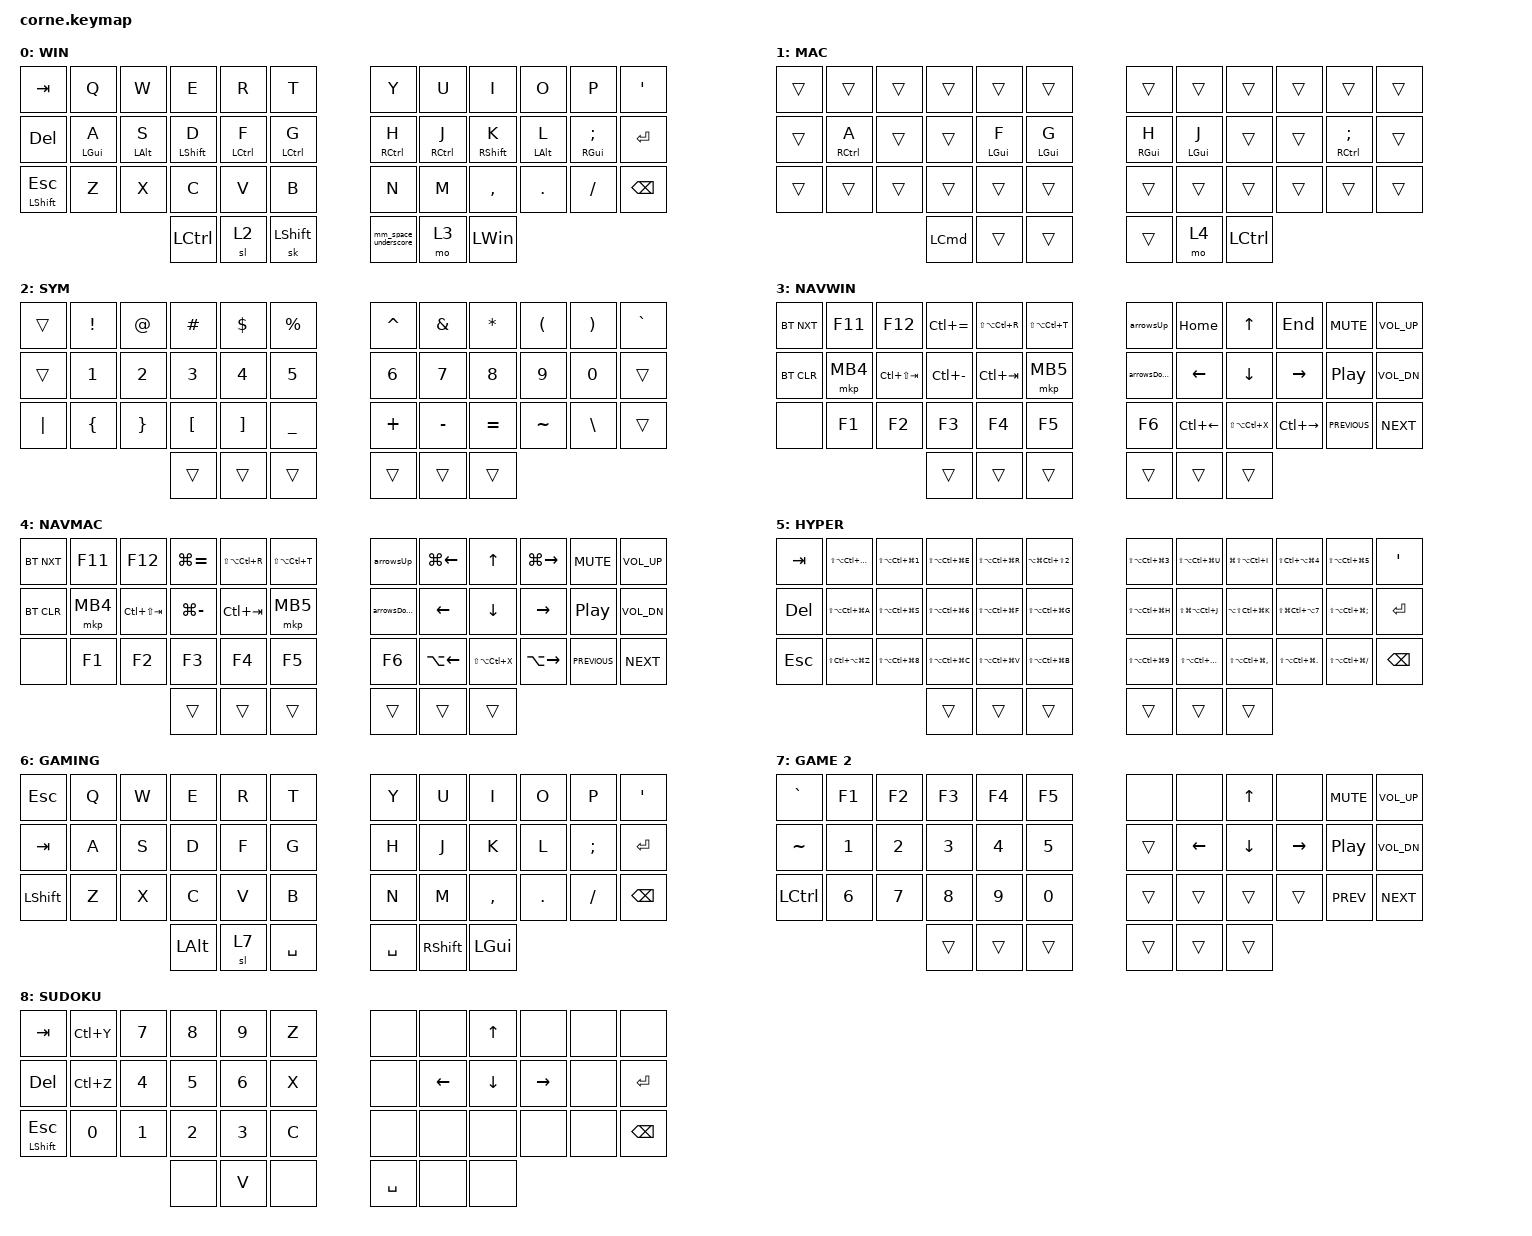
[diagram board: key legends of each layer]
/*
 * Copyright (c) 2020 The ZMK Contributors
 *
 * SPDX-License-Identifier: MIT
 */

#include <dt-bindings/zmk/mouse.h>
#include <behaviors.dtsi>
#include <dt-bindings/zmk/bt.h>
#include <dt-bindings/zmk/keys.h>
#include <dt-bindings/zmk/pointing.h>

&mt {
    flavor = "balanced";
    require-prior-idle-ms = <125>;
};

&sk {
    quick-release;
    release-after-ms = <500>;
};

&sl {
    release-after-ms = <500>;
    ignore-modifiers;
};

/ {
    combos {
        compatible = "zmk,combos";

        ctrlz {
            bindings = <&kp LC(Z)>;
            key-positions = <25 26>;
            layers = <0 6>;
            require-prior-idle-ms = <125>;
        };

        ctrlx {
            bindings = <&kp LC(X)>;
            key-positions = <26 27>;
            layers = <0 6>;
            require-prior-idle-ms = <125>;
        };

        ctrlc {
            bindings = <&kp LC(C)>;
            key-positions = <27 28>;
            layers = <0 6>;
            require-prior-idle-ms = <125>;
        };

        ctrlv {
            bindings = <&kp LC(V)>;
            key-positions = <28 29>;
            layers = <0 6>;
            require-prior-idle-ms = <125>;
        };

        cmdz {
            bindings = <&kp LG(Z)>;
            key-positions = <25 26>;
            layers = <1>;
        };

        cmdx {
            bindings = <&kp LG(X)>;
            key-positions = <26 27>;
            layers = <1>;
        };

        cmdc {
            bindings = <&kp LG(C)>;
            key-positions = <27 28>;
            layers = <1>;
            require-prior-idle-ms = <125>;
        };

        cmdv {
            bindings = <&kp LG(V)>;
            key-positions = <28 29>;
            layers = <1>;
            require-prior-idle-ms = <125>;
        };

        toMAC {
            bindings = <&to 1>;
            key-positions = <39 41 30>;
            layers = <0>;
        };

        toGAME {
            bindings = <&to 6>;
            key-positions = <39 41 30>;
            layers = <1>;
        };

        toSUDOKU {
            bindings = <&to 8>;
            key-positions = <39 41 30>;
            layers = <6>;
        };

        toWIN {
            bindings = <&to 0>;
            key-positions = <39 41 30>;
            layers = <8>;
        };

        bt_next {
            bindings = <&bt BT_NXT>;
            key-positions = <38 36 29>;
        };

        mac_app_allwindows {
            bindings = <&kp LC(DOWN)>;
            key-positions = <31 32 33>;
            layers = <1>;
            require-prior-idle-ms = <125>;
        };

        combo_LT {
            bindings = <&kp LT>;
            key-positions = <31 32>;
            require-prior-idle-ms = <100>;
        };

        combo_GT {
            bindings = <&kp GT>;
            key-positions = <32 33>;
            require-prior-idle-ms = <100>;
        };

        combo_QMark {
            bindings = <&kp QMARK>;
            key-positions = <33 34>;
            require-prior-idle-ms = <100>;
        };

        combo_COLON {
            bindings = <&kp COLON>;
            key-positions = <22 21>;
            require-prior-idle-ms = <100>;
        };

        combo_DQT {
            bindings = <&kp DQT>;
            key-positions = <10 9>;
            require-prior-idle-ms = <100>;
        };

        combo_nextWindowMac {
            bindings = <&kp LG(GRAVE)>;
            key-positions = <7 8>;
            layers = <1 4>;
            require-prior-idle-ms = <125>;
        };

        hyper-right {
            bindings = <&kp LS(LA(LC(LEFT_GUI)))>;
            key-positions = <19 20 21 22>;
        };

        ctrlvAlternate {
            bindings = <&kp LC(V)>;
            key-positions = <28 15>;
            require-prior-idle-ms = <125>;
            layers = <0>;
        };

        cmdvAlternate {
            bindings = <&kp LG(V)>;
            key-positions = <28 15>;
            require-prior-idle-ms = <125>;
            layers = <1>;
        };

        toWin_everywhere {
            bindings = <&to 0>;
            key-positions = <16 3 14>;
            require-prior-idle-ms = <125>;
        };

        toMac_everywhere {
            bindings = <&to 1>;
            key-positions = <8 19 21>;
            require-prior-idle-ms = <125>;
        };

        toGAME_everywhere {
            bindings = <&to 6>;
            key-positions = <2 15 13>;
            require-prior-idle-ms = <125>;
        };

        toSUDOKU_everywhere {
            bindings = <&to 8>;
            key-positions = <9 20 22>;
            require-prior-idle-ms = <125>;
        };

        bt_clear {
            bindings = <&bt BT_CLR>;
            key-positions = <29 27 36>;
        };

        ctrls {
            bindings = <&kp LC(S)>;
            key-positions = <14 15>;
            layers = <6>;
        };

        ctrla {
            bindings = <&kp LC(A)>;
            key-positions = <13 14>;
            layers = <6>;
        };
    };

    macros {
        arrowsUp: arrowsUp {
            compatible = "zmk,behavior-macro";
            #binding-cells = <0>;
            bindings = <&kp UP_ARROW &kp UP_ARROW &kp UP_ARROW &kp UP_ARROW &kp UP_ARROW &kp UP_ARROW &kp UP>;
            label = "ARROWSUP";
            wait-ms = <1>;
            tap-ms = <10>;
        };

        arrowsDown: arrowsDown {
            compatible = "zmk,behavior-macro";
            #binding-cells = <0>;
            bindings = <&kp DOWN &kp DOWN &kp DOWN &kp DOWN &kp DOWN &kp DOWN &kp DOWN>;
            label = "ARROWSDOWN";
            wait-ms = <1>;
            tap-ms = <10>;
        };
    };

    behaviors {
        td_alt_game2: td_alt_game2 {
            compatible = "zmk,behavior-tap-dance";
            label = "TD_ALT_GAME2";
            #binding-cells = <0>;
            bindings = <&kp LEFT_ALT>, <&mo 7>;
        };

        mm_space_underscore: mm_space_underscore {
            compatible = "zmk,behavior-mod-morph";
            label = "MM_SPACE_UNDERSCORE";
            bindings = <&kp SPACE>, <&kp UNDER>;

            #binding-cells = <0>;
            mods = <(MOD_LSFT|MOD_RSFT)>;
        };
    };

    keymap {
        compatible = "zmk,keymap";

        Win {
            // -----------------------------------------------------------------------------------------
            // |  TAB |  Q  |  W  |  E  |  R  |  T  |   |  Y  |  U   |  I  |  O  |  P  | BKSP |
            // | CTRL |  A  |  S  |  D  |  F  |  G  |   |  H  |  J   |  K  |  L  |  ;  |  '   |
            // | SHFT |  Z  |  X  |  C  |  V  |  B  |   |  N  |  M   |  ,  |  .  |  /  | ESC  |
            //                    | GUI | LWR | SPC |   | ENT | RSE  | ALT |

            bindings = <
&kp TAB                &kp Q           &kp W           &kp E             &kp R        &kp T          &kp Y                 &kp U        &kp I              &kp O           &kp P                    &kp APOS
&kp DELETE             &mt LEFT_GUI A  &mt LEFT_ALT S  &mt LEFT_SHIFT D  &mt LCTRL F  &mt LCTRL G    &mt RCTRL H           &mt RCTRL J  &mt RIGHT_SHIFT K  &mt LEFT_ALT L  &mt RIGHT_GUI SEMICOLON  &kp ENTER
&mt LEFT_SHIFT ESCAPE  &kp Z           &kp X           &kp C             &kp V        &kp B          &kp N                 &kp M        &kp COMMA          &kp DOT         &kp FSLH                 &kp BACKSPACE
                                                       &kp LCTRL         &sl 2        &sk LSHFT      &mm_space_underscore  &mo 3        &kp LEFT_WIN
            >;

            label = "WIN";
        };

        Mac {
            bindings = <
&trans  &trans       &trans  &trans            &trans          &trans            &trans           &trans          &trans            &trans  &trans               &trans
&trans  &mt RCTRL A  &trans  &trans            &mt LEFT_GUI F  &mt LEFT_GUI G    &mt RIGHT_GUI H  &mt LEFT_GUI J  &trans            &trans  &mt RCTRL SEMICOLON  &trans
&trans  &trans       &trans  &trans            &trans          &trans            &trans           &trans          &trans            &trans  &trans               &trans
                             &kp LEFT_COMMAND  &trans          &trans            &trans           &mo 4           &kp LEFT_CONTROL
            >;

            label = "MAC";
        };

        Sym {
            // -----------------------------------------------------------------------------------------
            // |  TAB |  1  |  2  |  3  |  4  |  5  |   |  6  |  7  |  8  |  9  |  0  | BKSP |
            // | BTCLR| BT1 | BT2 | BT3 | BT4 | BT5 |   | LFT | DWN |  UP | RGT |     |      |
            // | SHFT |     |     |     |     |     |   |     |     |     |     |     |      |
            //                    | GUI |     | SPC |   | ENT |     | ALT |

            bindings = <
&trans    &kp EXCL        &kp AT           &kp HASH  &kp DOLLAR  &kp PERCENT    &kp CARET  &kp AMPS   &kp ASTRK  &kp LEFT_PARENTHESIS  &kp RIGHT_PARENTHESIS  &kp GRAVE
&trans    &kp N1          &kp N2           &kp N3    &kp N4      &kp N5         &kp N6     &kp N7     &kp N8     &kp N9                &kp N0                 &trans
&kp PIPE  &kp LEFT_BRACE  &kp RIGHT_BRACE  &kp LBKT  &kp RBKT    &kp UNDER      &kp PLUS   &kp MINUS  &kp EQUAL  &kp TILDE             &kp BSLH               &trans
                                           &trans    &trans      &trans         &trans     &trans     &trans
            >;

            label = "SYM";
        };

        NavWin {
            bindings = <
&bt BT_NXT  &kp F11   &kp F12          &kp LC(EQUAL)  &kp LS(LA(LC(R)))  &kp LS(LA(LC(T)))    &arrowsUp    &kp HOME        &kp UP_ARROW       &kp END        &kp C_MUTE        &kp C_VOL_UP
&bt BT_CLR  &mkp MB4  &kp LC(LS(TAB))  &kp LC(MINUS)  &kp LC(TAB)        &mkp MB5             &arrowsDown  &kp LEFT_ARROW  &kp DOWN_ARROW     &kp RIGHT      &kp C_PLAY_PAUSE  &kp C_VOL_DN
&none       &kp F1    &kp F2           &kp F3         &kp F4             &kp F5               &kp F6       &kp LC(LEFT)    &kp LS(LA(LC(X)))  &kp LC(RIGHT)  &kp C_PREVIOUS    &kp C_NEXT
                                       &trans         &trans             &trans               &trans       &trans          &trans
            >;

            label = "NAVWIN";
        };

        NavMac {
            bindings = <
&bt BT_NXT  &kp F11   &kp F12          &kp LG(EQUAL)  &kp LS(LA(LC(R)))  &kp LS(LA(LC(T)))    &arrowsUp    &kp LG(LEFT_ARROW)  &kp UP_ARROW       &kp LG(RIGHT)  &kp C_MUTE        &kp C_VOL_UP
&bt BT_CLR  &mkp MB4  &kp LC(LS(TAB))  &kp LG(MINUS)  &kp LC(TAB)        &mkp MB5             &arrowsDown  &kp LEFT_ARROW      &kp DOWN_ARROW     &kp RIGHT      &kp C_PLAY_PAUSE  &kp C_VOL_DN
&none       &kp F1    &kp F2           &kp F3         &kp F4             &kp F5               &kp F6       &kp LA(LEFT)        &kp LS(LA(LC(X)))  &kp LA(RIGHT)  &kp C_PREVIOUS    &kp C_NEXT
                                       &trans         &trans             &trans               &trans       &trans              &trans
            >;

            label = "NAVMAC";
        };

        HYPER {
            bindings = <
&kp TAB  &kp LS(LA(LC(LG(Q))))  &kp LS(LA(LC(LG(NUMBER_1))))  &kp LS(LA(LC(LG(E))))         &kp LS(LA(LC(LG(R))))  &kp LA(LG(LC(LS(NUMBER_2))))    &kp LS(LA(LC(LG(NUMBER_3))))  &kp LS(LA(LC(LG(U))))  &kp LG(LS(LA(LC(I))))      &kp LS(LC(LA(LG(NUMBER_4))))  &kp LS(LA(LC(LG(N5))))    &kp APOS
&kp DEL  &kp LS(LA(LC(LG(A))))  &kp LS(LA(LC(LG(S))))         &kp LS(LA(LC(LG(NUMBER_6))))  &kp LS(LA(LC(LG(F))))  &kp LS(LA(LC(LG(G))))           &kp LS(LA(LC(LG(H))))         &kp LS(LG(LA(LC(J))))  &kp LA(LS(LC(LG(K))))      &kp LS(LG(LC(LA(N7))))        &kp LS(LA(LC(LG(SEMI))))  &kp RET
&kp ESC  &kp LS(LC(LA(LG(Z))))  &kp LS(LA(LC(LG(N8))))        &kp LS(LA(LC(LG(C))))         &kp LS(LA(LC(LG(V))))  &kp LS(LA(LC(LG(B))))           &kp LS(LA(LC(LG(N9))))        &kp LS(LA(LC(LG(M))))  &kp LS(LA(LC(LG(COMMA))))  &kp LS(LA(LC(LG(DOT))))       &kp LS(LA(LC(LG(FSLH))))  &kp BSPC
                                                              &trans                        &trans                 &trans                          &trans                        &trans                 &trans
            >;

            label = "HYPER";
        };

        Gaming {
            bindings = <
&kp ESC    &kp Q  &kp W  &kp E         &kp R  &kp T        &kp Y      &kp U            &kp I         &kp O    &kp P     &kp SQT
&kp TAB    &kp A  &kp S  &kp D         &kp F  &kp G        &kp H      &kp J            &kp K         &kp L    &kp SEMI  &kp ENTER
&kp LSHFT  &kp Z  &kp X  &kp C         &kp V  &kp B        &kp N      &kp M            &kp COMMA     &kp DOT  &kp FSLH  &kp BACKSPACE
                         &kp LEFT_ALT  &sl 7  &kp SPACE    &kp SPACE  &kp RIGHT_SHIFT  &kp LEFT_GUI
            >;

            label = "GAMING";
        };

        GAME_2 {
            bindings = <
&kp GRAVE         &kp F1  &kp F2  &kp F3  &kp F4  &kp F5    &none   &none     &kp UP_ARROW  &none      &kp C_MUTE        &kp C_VOL_UP
&kp TILDE         &kp N1  &kp N2  &kp N3  &kp N4  &kp N5    &trans  &kp LEFT  &kp DOWN      &kp RIGHT  &kp C_PLAY_PAUSE  &kp C_VOL_DN
&kp LEFT_CONTROL  &kp N6  &kp N7  &kp N8  &kp N9  &kp N0    &trans  &trans    &trans        &trans     &kp C_PREV        &kp C_NEXT
                                  &trans  &trans  &trans    &trans  &trans    &trans
            >;

            label = "GAME 2";
        };

        Sudoku {
            bindings = <
&kp TAB             &kp LC(Y)  &kp N7  &kp N8  &kp N9        &kp Z    &none      &none           &kp UP_ARROW  &none      &none  &none
&kp DELETE          &kp LC(Z)  &kp N4  &kp N5  &kp NUMBER_6  &kp X    &none      &kp LEFT_ARROW  &kp DOWN      &kp RIGHT  &none  &kp ENTER
&mt LEFT_SHIFT ESC  &kp N0     &kp N1  &kp N2  &kp N3        &kp C    &none      &none           &none         &none      &none  &kp BACKSPACE
                                       &none   &kp V         &none    &kp SPACE  &none           &none
            >;

            label = "SUDOKU";
        };
    };

    conditional_layers {
        compatible = "zmk,conditional-layers";

        WIN_ULTRA {
            if-layers = <2 3>;
            then-layer = <5>;
        };

        MAC_ULTRA {
            if-layers = <2 4>;
            then-layer = <5>;
        };
    };
};
